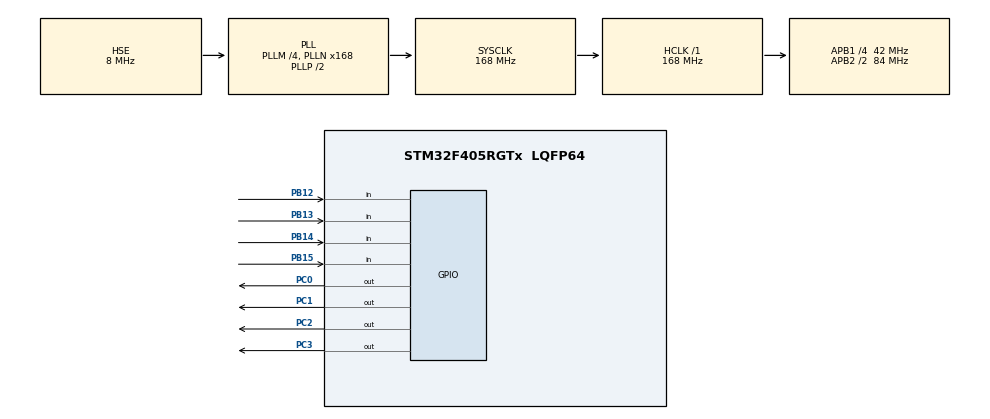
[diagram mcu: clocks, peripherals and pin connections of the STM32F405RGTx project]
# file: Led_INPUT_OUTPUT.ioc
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Mcu.Family=STM32F4
Mcu.Name=STM32F405RGTx
Mcu.Package=LQFP64
NVIC.PriorityGroup=NVIC_PRIORITYGROUP_4
PA13.Mode=Serial_Wire
PA13.Signal=SYS_JTMS-SWDIO
PA14.Mode=Serial_Wire
PA14.Signal=SYS_JTCK-SWCLK
PB12.Signal=GPIO_Input
PB13.Signal=GPIO_Input
PB14.Signal=GPIO_Input
PB15.Signal=GPIO_Input
PC0.Signal=GPIO_Output
PC1.Signal=GPIO_Output
PC2.Signal=GPIO_Output
PC3.Signal=GPIO_Output
PH0-OSC_IN.Mode=HSE-External-Oscillator
PH0-OSC_IN.Signal=RCC_OSC_IN
PH1-OSC_OUT.Mode=HSE-External-Oscillator
PH1-OSC_OUT.Signal=RCC_OSC_OUT
ProjectManager.HeapSize=0x200
ProjectManager.StackSize=0x400
ProjectManager.TargetToolchain=EWARM V8.32
RCC.48MHZClocksFreq_Value=84000000
RCC.AHBFreq_Value=168000000
RCC.APB1CLKDivider=RCC_HCLK_DIV4
RCC.APB1Freq_Value=42000000
RCC.APB1TimFreq_Value=84000000
RCC.APB2CLKDivider=RCC_HCLK_DIV2
RCC.APB2Freq_Value=84000000
RCC.APB2TimFreq_Value=168000000
RCC.CortexFreq_Value=168000000
RCC.HCLKFreq_Value=168000000
RCC.HSE_VALUE=8000000
RCC.HSI_VALUE=16000000
RCC.LSE_VALUE=32768
RCC.PLLM=4
RCC.PLLN=168
RCC.PLLSourceVirtual=RCC_PLLSOURCE_HSE
RCC.SYSCLKFreq_VALUE=168000000
RCC.SYSCLKSource=RCC_SYSCLKSOURCE_PLLCLK
RCC.VCOOutputFreq_Value=336000000
board=custom

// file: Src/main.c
/* USER CODE BEGIN Header */
/**
  ******************************************************************************
  * @file           : main.c
  * @brief          : Main program body
  ******************************************************************************
  * @attention
  *
  * <h2><center>&copy; Copyright (c) 2020 STMicroelectronics.
  * All rights reserved.</center></h2>
  *
  * This software component is licensed by ST under BSD 3-Clause license,
  * the "License"; You may not use this file except in compliance with the
  * License. You may obtain a copy of the License at:
  *                        opensource.org/licenses/BSD-3-Clause
  *
  ******************************************************************************
  */
/* USER CODE END Header */

#include "main.h"
#include "gpio.h"

void SystemClock_Config(void);

int main(void)
{

  /* MCU Configuration--------------------------------------------------------*/

  /* Reset of all peripherals, Initializes the Flash interface and the Systick. */
  HAL_Init();

  /* Configure the system clock */
  SystemClock_Config();

  /* Initialize all configured peripherals */
  MX_GPIO_Init();

  /* Infinite loop */
  /* USER CODE BEGIN WHILE */
  while (1)
  {
    if(HAL_GPIO_ReadPin(GPIOB,GPIO_PIN_12))
    {
      HAL_GPIO_TogglePin(GPIOC,GPIO_PIN_0);             //toggle 값변환
      HAL_Delay(500);
    }

    if(HAL_GPIO_ReadPin(GPIOB,GPIO_PIN_13))
    {
      HAL_GPIO_WritePin(GPIOC,GPIO_PIN_1,GPIO_PIN_SET);
    }
    else
      HAL_GPIO_WritePin(GPIOC,GPIO_PIN_1,GPIO_PIN_RESET);

    if(HAL_GPIO_ReadPin(GPIOB,GPIO_PIN_14))
    {
      HAL_GPIO_WritePin(GPIOC,GPIO_PIN_2,GPIO_PIN_SET);
    }
    else
      HAL_GPIO_WritePin(GPIOC,GPIO_PIN_2,GPIO_PIN_RESET);

    if(HAL_GPIO_ReadPin(GPIOB,GPIO_PIN_15))
    {
      HAL_GPIO_WritePin(GPIOC,GPIO_PIN_3,GPIO_PIN_SET);
    }
    else
      HAL_GPIO_WritePin(GPIOC,GPIO_PIN_3,GPIO_PIN_RESET);

    /* USER CODE END WHILE */

  }
}

void SystemClock_Config(void)
{
  RCC_OscInitTypeDef RCC_OscInitStruct = {0};
  RCC_ClkInitTypeDef RCC_ClkInitStruct = {0};

  /** Configure the main internal regulator output voltage
  */
  __HAL_RCC_PWR_CLK_ENABLE();
  __HAL_PWR_VOLTAGESCALING_CONFIG(PWR_REGULATOR_VOLTAGE_SCALE1);
  /** Initializes the CPU, AHB and APB busses clocks
  */
  RCC_OscInitStruct.OscillatorType = RCC_OSCILLATORTYPE_HSE;
  RCC_OscInitStruct.HSEState = RCC_HSE_ON;
  RCC_OscInitStruct.PLL.PLLState = RCC_PLL_ON;
  RCC_OscInitStruct.PLL.PLLSource = RCC_PLLSOURCE_HSE;
  RCC_OscInitStruct.PLL.PLLM = 4;
  RCC_OscInitStruct.PLL.PLLN = 168;
  RCC_OscInitStruct.PLL.PLLP = RCC_PLLP_DIV2;
  RCC_OscInitStruct.PLL.PLLQ = 4;
  if (HAL_RCC_OscConfig(&RCC_OscInitStruct) != HAL_OK)
  {
    Error_Handler();
  }
  /** Initializes the CPU, AHB and APB busses clocks
  */
  RCC_ClkInitStruct.ClockType = RCC_CLOCKTYPE_HCLK|RCC_CLOCKTYPE_SYSCLK
                              |RCC_CLOCKTYPE_PCLK1|RCC_CLOCKTYPE_PCLK2;
  RCC_ClkInitStruct.SYSCLKSource = RCC_SYSCLKSOURCE_PLLCLK;
  RCC_ClkInitStruct.AHBCLKDivider = RCC_SYSCLK_DIV1;
  RCC_ClkInitStruct.APB1CLKDivider = RCC_HCLK_DIV4;
  RCC_ClkInitStruct.APB2CLKDivider = RCC_HCLK_DIV2;

  if (HAL_RCC_ClockConfig(&RCC_ClkInitStruct, FLASH_LATENCY_5) != HAL_OK)
  {
    Error_Handler();
  }
}

void Error_Handler(void)
{
}

/************************ (C) COPYRIGHT STMicroelectronics *****END OF FILE****/
